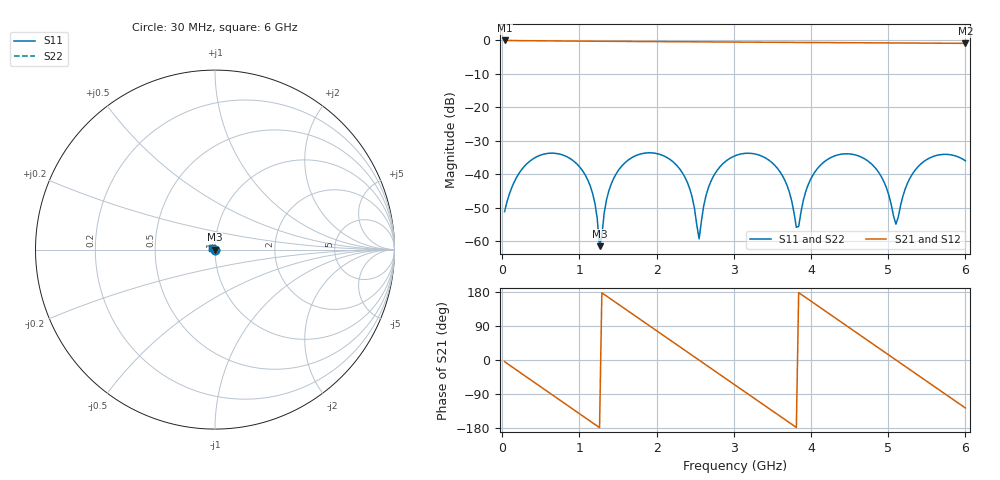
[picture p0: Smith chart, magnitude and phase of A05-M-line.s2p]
! yapnr Order 0 O0-M: O0-M A05 M dL70 (line, family M)
! stackup OSHPARK-4L-EM528, nominal parameters; geometry of the OSHPARK-4L-FR408HR design
! model: 2D quasi-static RLGC (Djordjevic-Sarkar, Huray roughness, Wheeler loss); generated by python -m yapnr.rf.coupons expected --stackup OSHPARK-4L-FR408HR --upload M
! reference planes 10 mm from each end; 50 ohm (from the M line's Zc)
# GHz S DB R 50
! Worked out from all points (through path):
!   200 points, 30 MHz to 6 GHz, reference 50 ohm
!   highest |S21| = -0.03 dB at 30 MHz (marker M1); lowest = -0.9 dB at 6 GHz (marker M2)
!   group delay of S21, straight-line fit = 392 ps
!   lowest |S11| = -61.6 dB at 1.26 GHz (marker M3), VSWR 1.00, Z = 49.9 + j0.035 ohm
!   |S11| at or under -10 dB: start of sweep to end of sweep
!   |S22| runs from -61.6 to -33.6 dB; largest |S21 - S12| = 0
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0.03  -51.23 2.5  -0.03 -4.4  -0.03 -4.4  -51.23 2.5
0.24  -38.99 -87.3  -0.09 -34.3  -0.09 -34.3  -38.99 -87.3
0.57  -33.88 -148.7  -0.15 -81.0  -0.15 -81.0  -33.88 -148.7
1.05  -39.35 139.7  -0.23 -148.8  -0.23 -148.8  -39.35 139.7
1.2  -48.73 124.3  -0.25 -170.0  -0.25 -170.0  -48.73 124.3
1.26  -61.57 155.2  -0.26 -178.5  -0.26 -178.5  -61.57 155.2
1.35  -47.73 -96.3  -0.28 168.8  -0.28 168.8  -47.73 -96.3
1.5  -39.03 -112.1  -0.30 147.6  -0.30 147.6  -39.03 -112.1
2.04  -34.10 173.8  -0.38 71.5  -0.38 71.5  -34.10 173.8
2.37  -41.12 131.6  -0.42 25.0  -0.42 25.0  -41.12 131.6
2.55  -59.36 -162.0  -0.45 -0.4  -0.45 -0.4  -59.36 -162.0
2.7  -42.32 -109.3  -0.47 -21.6  -0.47 -21.6  -42.32 -109.3
3.03  -34.40 -149.9  -0.51 -68.1  -0.51 -68.1  -34.40 -149.9
3.57  -38.43 139.9  -0.59 -144.2  -0.59 -144.2  -38.43 139.9
3.81  -55.92 164.4  -0.62 -178.0  -0.62 -178.0  -55.92 164.4
4.02  -40.47 -117.3  -0.64 152.4  -0.64 152.4  -40.47 -117.3
4.5  -33.97 -176.9  -0.71 84.7  -0.71 84.7  -33.97 -176.9
5.01  -46.45 131.5  -0.77 12.9  -0.77 12.9  -46.45 131.5
5.1  -54.98 -174.3  -0.78 0.2  -0.78 0.2  -54.98 -174.3
5.28  -41.29 -118.9  -0.80 -25.2  -0.80 -25.2  -41.29 -118.9
5.55  -35.04 -148.8  -0.83 -63.3  -0.83 -63.3  -35.04 -148.8
6  -36.02 154.6  -0.89 -126.7  -0.89 -126.7  -36.02 154.6
